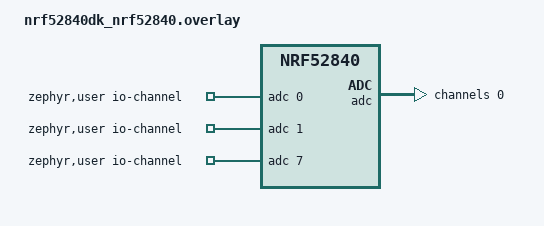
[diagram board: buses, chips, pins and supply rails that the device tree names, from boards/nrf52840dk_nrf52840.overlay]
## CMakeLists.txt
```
set(BOARD nrf52840dk_nrf52840)

cmake_minimum_required(VERSION 3.20.0)
find_package(Zephyr REQUIRED HINTS $ENV{ZEPHYR_BASE})

project(app)

zephyr_include_directories(${ZEPHYR_BASE})
zephyr_include_directories(include)

target_sources(app PRIVATE src/main.c)
target_sources(app PRIVATE src/led.c)
target_sources_ifdef(CONFIG_ADC app PRIVATE src/adc.c)
target_sources_ifdef(CONFIG_GPIO app PRIVATE src/button.c)
target_sources_ifdef(CONFIG_BT app PRIVATE src/ble.c)
```

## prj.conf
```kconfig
#Logging
CONFIG_LOG=y

#ADC
CONFIG_ADC=y
CONFIG_ADC_NRFX_SAADC=y
CONFIG_ADC_ASYNC=y

#LED
CONFIG_PWM=n

#Button
CONFIG_GPIO=y

#Bluetooth
CONFIG_BT=y
CONFIG_BT_PERIPHERAL=y
CONFIG_BT_DEVICE_NAME="FW-CHALLENGE"

#Settings
CONFIG_SETTINGS=n

#MCUmgr
CONFIG_ZCBOR=y
CONFIG_MCUMGR=y
CONFIG_MCUMGR_TRANSPORT_BT=y
```

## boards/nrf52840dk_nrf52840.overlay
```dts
/*
 * SPDX-License-Identifier: Apache-2.0
 *
 * Copyright (c) 2022 Nordic Semiconductor ASA
 */

/ {
    app {
        compatible = "app,config";
        sample-interval-ms = <1000>;
        voltage-threshold-mv = <3300>;
        enable-ble;
    };
};

/ {
    zephyr,user {
        io-channels = <&adc 0>, <&adc 1>, <&adc 7>;
    };
};

/ {
     aliases {
            led-status = &pwm_led0;
            btn-user = &button0;
            adc = &adc;
     };
};

&adc {
    #address-cells = <1>;
    #size-cells = <0>;

    channel@0 {
        reg = <0>;
        zephyr,gain = "ADC_GAIN_1_6";
        zephyr,reference = "ADC_REF_INTERNAL";
        zephyr,acquisition-time = <ADC_ACQ_TIME_DEFAULT>;
        zephyr,input-positive = <NRF_SAADC_AIN1>; /* P0.03 */
        zephyr,resolution = <12>;
    };
};
```

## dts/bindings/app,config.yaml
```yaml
description: Application configurations
    
compatible: "app,config"

include: base.yaml

properties:
    sample-interval-ms:
        type: int
        required: false
        description: Time between samples in milliseconds
    voltage-threshold-mv:
        type: int
        required: false
        description: Battery lower threshold in millivolts
    enable-ble:
        type: boolean
        required: false
        description: Enable/disable BLE
```

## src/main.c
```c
#include <zephyr/kernel.h>
#include <zephyr/logging/log.h>

#include "adc.h"
#include "led.h"
#include "button.h"
#include "ble.h"

#define LOG_LEVEL LOG_LEVEL_INF
LOG_MODULE_REGISTER(app_main, LOG_LEVEL);

int main(void)
{
        int rc;
        LOG_DBG("Starting application...");

#ifdef CONFIG_ADC
        LOG_DBG("Starting battery monitor...");
        rc = adc_init();
        if (rc == 0)
        {
                LOG_INF("ADC initialization success");
        }
        else
        {
                LOG_WRN("ADC initialization failed (%d)", rc);
        }
#endif

#ifdef CONFIG_LED
        LOG_DBG("Starting LEDs...");
        rc = led_init();
        if (rc == 0)
        {
                LOG_INF("LED initialization success");
        }
        else
        {
                LOG_WRN("LED initialization failed (%d)", rc);
        }
#endif

#ifdef CONFIG_BUTTON
        LOG_DBG("Starting button handler...");
        rc = button_init();
        if (rc == 0)
        {
                LOG_INF("Button initialization success");
        }
        else
        {
                LOG_WRN("Button initialization failed (%d)", rc);
        }
#endif

#ifdef CONFIG_BT
        LOG_DBG("Starting BLE...");
        rc = ble_init();
        if (rc == 0)
        {
                LOG_INF("BLE initialization success");
        }
        else
        {
                LOG_WRN("BLE initialization failed (%d)", rc);
        }
#endif

        return 0;
}
```

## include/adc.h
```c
#pragma once

int adc_init(void);
uint16_t adc_voltage_get(void);
uint32_t adc_sample_interval_get(void);
```

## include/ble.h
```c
#pragma once

int ble_init(void);
void ble_voltage_update(uint16_t voltage_mv);
int ble_notify_toggle(void);
```

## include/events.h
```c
#pragma once

enum event
{
    EVENT_IDLE,
    EVENT_SAMPLE,
    EVENT_ERROR
};
```

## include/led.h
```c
#pragma once

#include "events.h"

int led_init(void);
int led_event_dispatch(enum event event);
```

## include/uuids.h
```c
#pragma once

// Sample UUID 6E400001-B5A3-F393-E0A9-E50E24DCCA9E from documentation examples
#define UUID_1_1 0x6E400001
#define UUID_1_2 0xB5A3
#define UUID_1_3 0xF393
#define UUID_1_4 0xE0A9
#define UUID_1_5 0xE50E24DCCA9E

// Sample UUID 6E400001-B5A3-F394-E0A9-E50E24DCCA9E from documentation examples
#define UUID_2_1 0x6E400001
#define UUID_2_2 0xB5A3
#define UUID_2_3 0xF394 // UUID_3 + 1
#define UUID_2_4 0xE0A9
#define UUID_2_5 0xE50E24DCCA9E

// Sample UUID 6E400001-B5A3-F394-E0A9-E50E24DCCA9E from documentation examples
#define UUID_3_1 0x6E400001
#define UUID_3_2 0xB5A3
#define UUID_3_3 0xF395 // UUID_3 +2
#define UUID_3_4 0xE0A9
#define UUID_3_5 0xE50E24DCCA9E
```

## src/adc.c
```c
#ifdef CONFIG_ADC

#include <errno.h>
#include <stdio.h>
#include <zephyr/logging/log.h>
#include <zephyr/device.h>
#include <zephyr/drivers/adc.h>
#include <zephyr/kernel.h>
#include <nrfx_saadc.h>

#include "adc.h"
#include "events.h"
#include "led.h"
#include "ble.h"

#define LOG_LEVEL LOG_LEVEL_INF
LOG_MODULE_REGISTER(app_adc, LOG_LEVEL);

#define ADC_DEVICE DT_ALIAS(adc)
static const struct device *dev;
static const struct adc_channel_cfg config = ADC_CHANNEL_CFG_DT(DT_CHILD(ADC_DEVICE, channel_0));

#define TIMER_START_DELAY_S 0
static struct k_timer adc_timer;
static void adc_timer_handler();

static struct k_work_delayable dwork;
static void work_handler(struct k_work *work);

#define APP DT_PATH(app)
#define SAMPLE_INTERVAL_MS DT_PROP(APP, sample_interval_ms)
static uint16_t voltage_mv;
static uint32_t sample_interval_ms = SAMPLE_INTERVAL_MS;
static uint32_t sample_count;

static int adc_sample();

int adc_init(void)
{
    int rc;

    LOG_DBG("Finding ADCs...");
    dev = DEVICE_DT_GET(ADC_DEVICE);
    if (dev == NULL)
    {
        LOG_WRN("Failed to get ADC bindings");
        rc = -ENXIO;
    }
    else
    {
        LOG_INF("ADC found");
        LOG_DBG("Configuring ADC...");
        rc = adc_channel_setup(dev, &config);
        if (rc == 0)
        {
            LOG_INF("ADC configured");
            LOG_DBG("Initilizing timer and worker...");
            k_timer_init(&adc_timer, adc_timer_handler, NULL);
            k_work_init_delayable(&dwork, (k_work_handler_t)work_handler);
            k_timer_start(&adc_timer, K_NO_WAIT, K_MSEC(sample_interval_ms));
        }
        else
        {
            LOG_WRN("ADC configuration failed (%d)", rc);
        }
    }
    
    return rc;
}

uint16_t adc_voltage_get(void)
{
    return voltage_mv;
}

uint32_t adc_sample_interval_get(void)
{
    return sample_interval_ms;
}

static int adc_sample()
{
    int rc;

    // struct adc_sequence *sp = &adc_chat_ptr->adc_seq;
    // rc = adc_read(adc_chan_ptr->adc, sp);

    if(rc == 0)
    {
        // voltage_mv = adc_chan_ptr->raw;
    }
    else
    {
        // Mock for now
        voltage_mv = 2200;
    }
    sample_count++;

    return rc;
}

static void adc_timer_handler()
{
    LOG_DBG("Scheduling work from timer...");
    k_work_schedule(&dwork, K_NO_WAIT);
}

static void work_handler(struct k_work *work)
{
    int rc;
    led_event_dispatch(EVENT_SAMPLE);
    LOG_DBG("Sampling VDD...");
    rc = adc_sample();

    if (rc == 0)
    {
        LOG_DBG("Sample success...notifying...");
        ble_voltage_update(voltage_mv);
    }
    else
    {
        LOG_ERR("Failed to get sample");
        led_event_dispatch(EVENT_ERROR);
    }
}

#endif
```

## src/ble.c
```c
#ifdef CONFIG_BT

#include <errno.h>
#include <zephyr/logging/log.h>

#include <zephyr/bluetooth/bluetooth.h>
#include <zephyr/bluetooth/uuid.h>
#include <zephyr/bluetooth/gatt.h>

#include "ble.h"
#include "uuids.h"
#include "adc.h"

#define LOG_LEVEL LOG_LEVEL_INF
LOG_MODULE_REGISTER(app_ble, LOG_LEVEL);

static const struct bt_data adv[] =
{
    BT_DATA_BYTES(BT_DATA_FLAGS, (BT_LE_AD_GENERAL | BT_LE_AD_NO_BREDR)),
    BT_DATA_BYTES(BT_DATA_UUID128_ALL,
        0x00, 0x00, 0x00, 0x00, 0x00, 0x00, 0x00, 0x00,
        0x00, 0x00, 0x00, 0x00, 0x00, 0x00, 0x00, 0x00)
};
    
static struct bt_uuid_128 base_uuid =
BT_UUID_INIT_128(BT_UUID_128_ENCODE(UUID_1_1, UUID_1_2, UUID_1_3, UUID_1_4, UUID_1_5));
static const struct bt_uuid_128 uuid_sample_interval =
BT_UUID_INIT_128(BT_UUID_128_ENCODE(UUID_2_1, UUID_2_2, UUID_2_3, UUID_2_4, UUID_2_5));
static const struct bt_uuid_128 uuid_voltage_mv =
BT_UUID_INIT_128(BT_UUID_128_ENCODE(UUID_3_1, UUID_3_2, UUID_3_3, UUID_3_4, UUID_3_5));
    
static ssize_t sample_voltage_read_cb(struct bt_conn* conn, const struct bt_gatt_attr* attr, void* buf, uint16_t len, uint16_t offset);
static ssize_t sample_interval_read_cb(struct bt_conn* conn, const struct bt_gatt_attr* attr, void* buf, uint16_t len, uint16_t offset);
static void ccc_cfg_changed(const struct bt_gatt_attr* attr, uint16_t value);
BT_GATT_SERVICE_DEFINE(APP_SVC,
    BT_GATT_PRIMARY_SERVICE(&base_uuid),
    BT_GATT_CHARACTERISTIC(&uuid_voltage_mv.uuid, BT_GATT_CHRC_READ | BT_GATT_CHRC_NOTIFY, BT_GATT_PERM_READ | BT_GATT_PERM_WRITE, sample_voltage_read_cb, NULL, NULL),
    BT_GATT_CHARACTERISTIC(&uuid_sample_interval.uuid, BT_GATT_CHRC_READ
        , BT_GATT_PERM_READ | BT_GATT_PERM_WRITE, sample_interval_read_cb, NULL, NULL),
    BT_GATT_CCC(ccc_cfg_changed, BT_GATT_PERM_READ | BT_GATT_PERM_WRITE)
);

static void connected(struct bt_conn* conn, uint8_t err);
static void disconnected(struct bt_conn* conn, uint8_t reason);
struct bt_conn_cb conn_cb =
{
    .connected = connected,
    .disconnected = disconnected
};

static bool notifications;
static struct k_work work;
static void work_handler(struct k_work* work);

int ble_init(void)
{
    int rc;
 
    LOG_DBG("Enabling BT...");
    rc = bt_enable(NULL);
    if (rc == 0)
    {
        LOG_INF("BLE enabled");
        rc = bt_le_adv_start(BT_LE_ADV_CONN_NAME, adv, ARRAY_SIZE(adv), NULL, 0);
        if (rc == 0)
        {
            LOG_INF("Advertising as %s", "FW-CHALLENGE");
            bt_conn_cb_register(&conn_cb);
            k_work_init(&work, (k_work_handler_t)work_handler);
        }
        else
        {
            LOG_WRN("Advertising failed (%d)", rc);
        }
    }
    else
    {
        LOG_WRN("BLE enable failed (%d)", rc);
    }
    return rc;
}

void ble_voltage_update(uint16_t voltage_mv)
{
    LOG_INF("Voltage updated");
    bt_gatt_notify(NULL, &APP_SVC.attrs[1], &voltage_mv, sizeof(voltage_mv));
}

int ble_notify_toggle(void)
{
    int rc;

    LOG_INF("BLE notifications %s", notifications ? "enabled" : "disabled");
    notifications = !notifications;
    LOG_DBG("Deferring CCC configuration to work...");
    rc = k_work_submit(&work);
    if (rc == 0)
    {
        LOG_DBG("Work submitted successfully...");
    }
    else
    {
        LOG_WRN("Failed to submit work");
    }
    return rc;
}

static void connected(struct bt_conn* conn, uint8_t err)
{
    if (err == 0)
    {
        LOG_INF("Connected");
    }
    else
    {
        
    }
}

static void disconnected(struct bt_conn* conn, uint8_t reason)
{
    LOG_INF("Disconnected (%d)", reason);
}

static ssize_t sample_voltage_read_cb(struct bt_conn* conn, const struct bt_gatt_attr* attr, void* buf, uint16_t len, uint16_t offset)
{
    uint16_t voltage_mv;
    
    LOG_DBG("Reading sample voltage from within callback...");
    voltage_mv = adc_voltage_get();
    return bt_gatt_attr_read(conn, attr, buf, len, offset, &voltage_mv, sizeof(voltage_mv));
}

static ssize_t sample_interval_read_cb(struct bt_conn* conn, const struct bt_gatt_attr* attr, void* buf, uint16_t len, uint16_t offset)
{
    uint32_t interval_ms;
    
    LOG_DBG("Reading sample interval from within callback...");
    interval_ms = adc_sample_interval_get();
    return bt_gatt_attr_read(conn, attr, buf, len, offset, &interval_ms, sizeof(interval_ms));
}

static void ccc_cfg_changed(const struct bt_gatt_attr* attr, uint16_t value)
{
    return;
}

static void work_handler(struct k_work* work)
{
    uint8_t buf;
    if(notifications)
    {
        buf = BT_GATT_CCC_NOTIFY;
    }
    else
    {
        buf = 0;
    }
    LOG_DBG("Writing CCC attributes to GATT...");
    // bt_gatt_attr_write_ccc(conn, attr, notify_flags, sizeof(notify_flags), offset, NULL);
}

#endif
```

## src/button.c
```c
#ifdef CONFIG_GPIO

#include <errno.h>
#include <zephyr/logging/log.h>
#include <zephyr/device.h>
#include <zephyr/drivers/gpio.h>

#include "button.h"
#include "ble.h"

#define LOG_LEVEL LOG_LEVEL_INF
LOG_MODULE_REGISTER(app_buttons, LOG_LEVEL);

#define DEVICE_NODE DT_ALIAS(btn_user)
static const struct gpio_dt_spec gpio = GPIO_DT_SPEC_GET(DEVICE_NODE, gpios);
static struct gpio_callback button_cb_data;

static int int_configure(const struct gpio_dt_spec* gpio);
static void int_callback(const struct device* dev, struct gpio_callback* cb, uint32_t pins);

int button_init(void)
{
    int rc;
    
    LOG_DBG("Finding button...");
    if (gpio_is_ready_dt(&gpio))
    {
        LOG_INF("Button found");
        LOG_DBG("Configuring button...");
        gpio_pin_configure_dt(&gpio, GPIO_INPUT);
        rc = int_configure(&gpio);
    }
    else
    {
        LOG_WRN("Failed to get button binding");
        rc = -ENODEV;
    }
    
    return rc;
}

static int int_configure(const struct gpio_dt_spec* gpio)
{
    int rc;

    LOG_DBG("Configuring interrupt mode...");
    rc = gpio_pin_interrupt_configure_dt(gpio, GPIO_INT_EDGE_FALLING);
    if (rc == 0)
    {
        LOG_DBG("Initializing interrupt callback on pin...");
        gpio_init_callback(&button_cb_data, int_callback, BIT(gpio->pin));
        
        LOG_DBG("Adding interrupt callback...");
        rc = gpio_add_callback(gpio->port, &button_cb_data);
    }
    else
    {
        LOG_WRN("Failed to configure interrupt");
    }

    return rc;
}

static void int_callback(const struct device* dev, struct gpio_callback* cb, uint32_t pins)
{
    int rc;
    
    rc = ble_notify_toggle();
    if (rc == 0)
    {
        LOG_DBG("Toggling BLE notifications...");
    }
    else
    {
        LOG_WRN("Failed to toggle BLE notifications");
    }
}

#endif
```

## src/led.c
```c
#include <errno.h>
#include <zephyr/logging/log.h>
#include <zephyr/kernel.h>
#include <zephyr/device.h>
#include <zephyr/drivers/pwm.h>

#include "led.h"

#define LOG_LEVEL LOG_LEVEL_INF
LOG_MODULE_REGISTER(app_led, LOG_LEVEL);

#ifdef CONFIG_PWM
#define DEVICE_NODE DT_ALIAS(led_status)
static const struct pwm_dt_spec led_pwm = PWM_DT_SPEC_GET(DEVICE_NODE);
#else
#warning "LED PWM not configured; using simulated LEDs"
#endif

#define THREAD_SIZE 512
#define THREAD_PRIORITY 7
static struct k_thread thread;
static void led_thread(void* p1, void* p2, void* p3);

#define SEM_COUNT_INIT 0
#define SEM_COUNT_LIMIT 1
#define SEM_TIMEOUT_MS 100
static struct k_sem blink_sem;

#define BLINK_IDLE_FREQUENCY_HZ 1
#define BLINK_SAMPLING_FREQUENCY_HZ 2
#define BLINK_ERROR_FREQUENCY_HZ 3
static struct k_timer blink_timer;
static int blink(int frequency_hz);
static void blink_timer_handler(struct k_timer* timer_id);

enum states {
    STATE_IDLE,
    STATE_SAMPLING,
    STATE_ERROR
};
static enum states state;

K_THREAD_STACK_DEFINE(led_stack, THREAD_SIZE);

int led_init(void)
{
    int rc;
    
    LOG_DBG("Finding LEDs...");
#ifdef CONFIG_PWM
    if (pwm_is_ready_dt(&led_pwm))
    {
    }
    else
    {
        LOG_WRN("Failed to get LED binding");
        rc = -ENODEV;
    }
#endif

    // Start state machine regardless of device readiness for simulation
    LOG_DBG("Initializing semaphores, timers, thread, etc...");
    k_sem_init(&blink_sem, SEM_COUNT_INIT, SEM_COUNT_LIMIT);
    k_timer_init(&blink_timer, blink_timer_handler, NULL);
    k_thread_create(&thread, led_stack, THREAD_SIZE, led_thread, NULL, NULL, NULL, THREAD_PRIORITY, 0, K_NO_WAIT);
    rc = led_event_dispatch(EVENT_IDLE);
    
    return rc;
}

int led_event_dispatch(enum event event)
{
    int rc;

    LOG_DBG("Handling event %d...", event);
    switch(event)
    {
        case EVENT_IDLE:
            rc = blink(BLINK_IDLE_FREQUENCY_HZ);
            state = STATE_IDLE;
            break;
        case EVENT_SAMPLE:
            rc = blink(BLINK_SAMPLING_FREQUENCY_HZ);
            state = STATE_SAMPLING;
            break;
        case EVENT_ERROR:
            rc = blink(BLINK_ERROR_FREQUENCY_HZ);
            state = STATE_ERROR;
            break;
        default:
            rc = -EINVAL;
            break;
    }
    return rc;
}

static void led_thread(void* p1, void* p2, void* p3)
{
    static bool led_on = false;
    while(1)
    {
#ifdef CONFIG_PWM
        if (k_sem_take(&blink_sem, K_FOREVER) == 0)
        {
            switch(state)
            {
                case STATE_IDLE:
                    pwm_set_pulse_dt(&led_pwm, 1000);
                    break;
                case STATE_SAMPLING:
                    pwm_set_pulse_dt(&led_pwm, 1000);
                    k_sleep(1);
                    led_event_dispatch(EVENT_IDLE);
                    break;
                case STATE_ERROR:
                    pwm_set_pulse_dt(&led_pwm, 1000);
                    break;
                default:
                    rc = -EINVAL;
            }
        }
#else
        // Manually drive blink using timer if PWM not available
        if (k_sem_take(&blink_sem, K_MSEC(SEM_TIMEOUT_MS)) == 0)
        {
            if(led_on)
            {
                LOG_DBG("Turning LED off...");
            }
            else
            {
                LOG_DBG("Turning LED on...");
            }
            led_on = !led_on;
        }
#endif
    }
}
static int blink(int frequency_hz)
{
    int rc;

#ifdef CONFIG_PWM
    LOG_DBG("Deferring PWM configuration to thread...");
    k_sem_give(&blink_sem);
#else
    // Manually drive blink using timer if PWM not available
    k_timer_stop(&blink_timer);
    k_sem_reset(&blink_sem);
    LOG_DBG("Starting blink timer...");
    k_timer_start(&blink_timer, K_NO_WAIT, K_SECONDS(1/frequency_hz));
    rc = 0;
#endif
    return rc;
}

static void blink_timer_handler(struct k_timer *timer_id)
{
    LOG_DBG("Deferring LED toggle to thread...");
    k_sem_give(&blink_sem);
}
```
